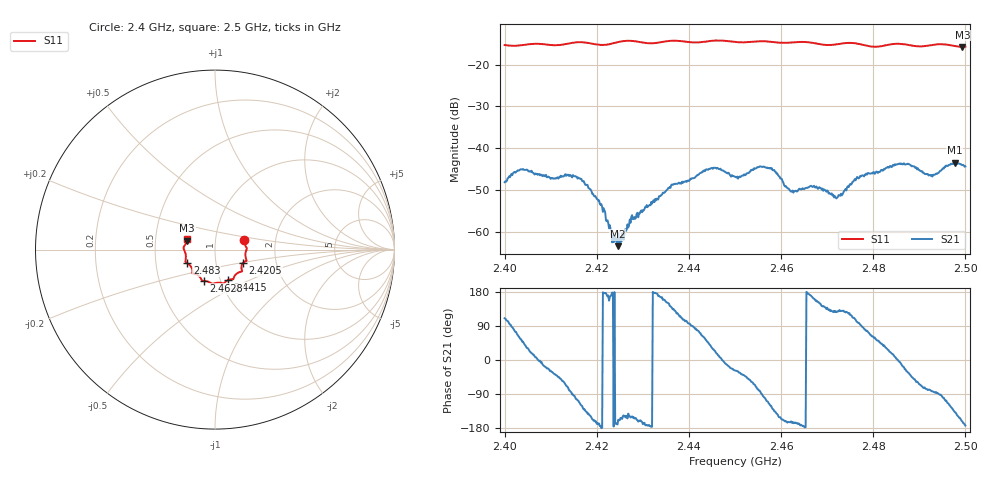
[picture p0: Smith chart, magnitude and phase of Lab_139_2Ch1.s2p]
# Hz S RI R 50
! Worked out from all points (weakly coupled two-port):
!   601 points, 2.4 GHz to 2.5 GHz, reference 50 ohm
!   highest |S21| = -43.46 dB at 2.4977 GHz (marker M1); lowest = -63.5 dB at 2.4245 GHz (marker M2)
!   lowest |S11| = -15.7 dB at 2.4993 GHz (marker M3), VSWR 1.39, Z = 36.4 + j3.68 ohm
!   |S11| at or under -10 dB: start of sweep to end of sweep
!   S12 and S22 are empty: the file has one direction only
!   S11 on the Smith chart (normalised r, x): 2.4 GHz: 1.38, +0.16; 2.4205 GHz: 1.35, -0.21; 2.4415 GHz: 1.09, -0.38; 2.4628 GHz: 0.83, -0.30; 2.483 GHz: 0.73, -0.11; 2.5 GHz: 0.73, +0.09
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2.4e9  0.1623 0.0562  -0.00135 0.00367  0 0  0 0
2.403833e9  0.1702 0.02  0.0037 0.00413  0 0  0 0
2.416667e9  0.1753 -0.0619  -0.00213 -0.00371  0 0  0 0
2.4205e9  0.1553 -0.076  -0.00232 -0.000502  0 0  0 0
2.4245e9  0.1488 -0.1112  -0.00066 -0.000115  0 0  0 0
2.427667e9  0.1486 -0.1221  -0.00135 -0.000813  0 0  0 0
2.433333e9  0.1085 -0.148  -0.00239 0.000466  0 0  0 0
2.4415e9  0.0734 -0.1691  0.000576 0.00455  0 0  0 0
2.445833e9  0.0492 -0.1883  0.00547 0.00198  0 0  0 0
2.45e9  0.0294 -0.1847  0.00403 -0.00211  0 0  0 0
2.4575e9  -0.0208 -0.1873  -0.00259 -0.00511  0 0  0 0
2.462833e9  -0.0625 -0.1745  -0.00295 -0.000795  0 0  0 0
2.466667e9  -0.0754 -0.1671  -0.0034 0.000749  0 0  0 0
2.472333e9  -0.1127 -0.1352  -0.00165 0.00203  0 0  0 0
2.476833e9  -0.1256 -0.1251  -0.000634 0.00429  0 0  0 0
2.483e9  -0.1538 -0.0765  0.00509 0.0029  0 0  0 0
2.483333e9  -0.1561 -0.0752  0.00525 0.00256  0 0  0 0
2.487667e9  -0.1629 -0.0552  0.00533 -0.00359  0 0  0 0
2.4925e9  -0.171 -0.00347  0.000766 -0.0046  0 0  0 0
2.497667e9  -0.164 0.0305  -0.00493 -0.00456  0 0  0 0
2.499333e9  -0.1558 0.0492  -0.00595 -0.00193  0 0  0 0
2.5e9  -0.1537 0.0578  -0.00599 -0.00073  0 0  0 0
